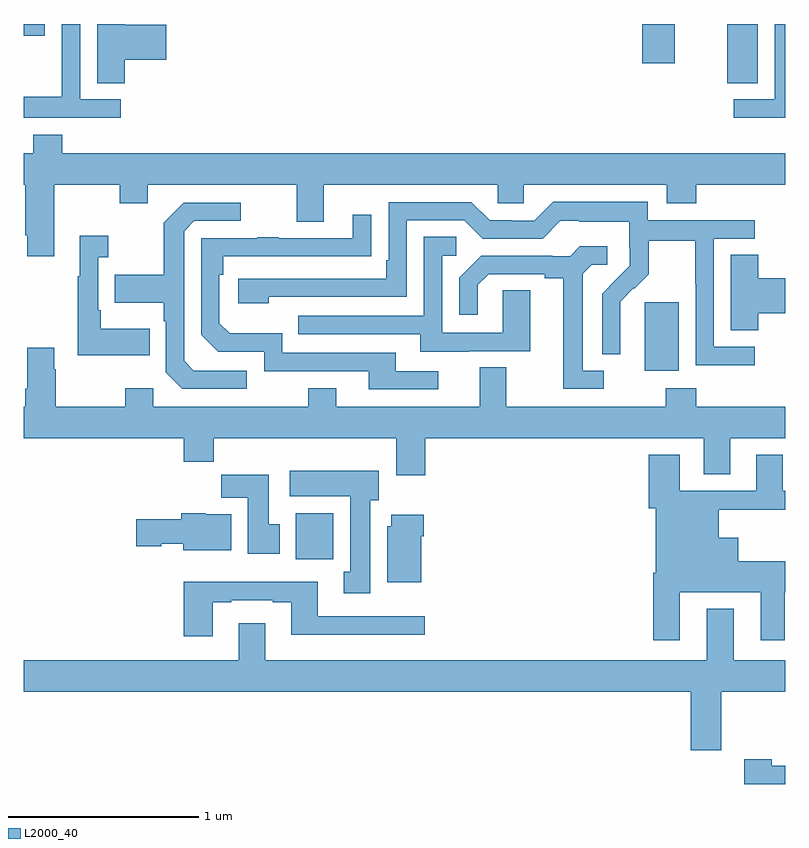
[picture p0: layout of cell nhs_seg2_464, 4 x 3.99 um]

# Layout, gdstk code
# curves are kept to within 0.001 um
import gdstk
lib = gdstk.Library(unit=1e-6, precision=1e-09)
def R(c, l, rs):  # rectangles x0, y0, x1, y1
    for r in rs: c.add(gdstk.rectangle(r[:2], r[2:], *l))
def P(c, l, *ps):  # polygons
    for p in ps: c.add(gdstk.Polygon(p, *l))
L2000_40 = (2000, 40)

nhs_seg2_464 = lib.new_cell('nhs_seg2_464')
R(nhs_seg2_464, L2000_40, [(134.429,658.988,134.626,659.23), (136.262,659.978,136.441,660.339), (136.697,661.489,136.855,661.8), (136.25,661.593,136.42,661.8), (133,661.737,133.111,661.8)])
P(nhs_seg2_464, L2000_40, [(133.529,661.613),(133.747,661.613),(133.747,661.796),(133.529,661.796),(133.529,661.8),(133.385,661.8),(133.385,661.489),(133.529,661.489)],
  [(133.51,661.404),(133.296,661.404),(133.296,661.8),(133.2,661.8),(133.2,661.64),(133.198,661.64),(133.198,661.417),(133,661.417),(133,661.308),(133.51,661.308)],
  [(137,661.8),(136.944,661.8),(136.944,661.404),(136.731,661.404),(136.731,661.308),(137,661.308)],
  [(133.159,660.956),(133.504,660.956),(133.504,660.857),(133.651,660.857),(133.651,660.956),(134.435,660.956),(134.435,660.762),(134.575,660.762),(134.575,660.956),(135.489,660.956),(135.489,660.858),(135.627,660.858),(135.627,660.956),(136.379,660.956),(136.379,660.857),(136.532,660.857),(136.532,660.956),(137,660.956),(137,661.12),(133.202,661.12),(133.202,661.219),(133.049,661.219),(133.049,661.12),(133,661.12),(133,660.956),(133.007,660.956),(133.007,660.691),(133.019,660.691),(133.019,660.579),(133.159,660.579)],
  [(136.84,660.105),(136.626,660.105),(136.626,660.672),(136.84,660.672),(136.84,660.768),(136.278,660.768),(136.278,660.865),(135.781,660.865),(135.681,660.765),(135.566,660.765),(135.566,660.768),(135.447,660.768),(135.351,660.864),(134.916,660.864),(134.916,660.559),(134.903,660.559),(134.903,660.462),(134.127,660.462),(134.127,660.332),(134.288,660.332),(134.288,660.366),(135.012,660.366),(135.012,660.768),(135.315,660.768),(135.411,660.672),(135.726,660.672),(135.819,660.765),(135.919,660.765),(135.919,660.761),(136.182,660.761),(136.182,660.627),(136.184,660.627),(136.184,660.53),(136.038,660.382),(136.038,660.064),(136.134,660.064),(136.133,660.341),(136.203,660.411),(136.206,660.408),(136.283,660.485),(136.283,660.66),(136.528,660.66),(136.528,660.436),(136.53,660.436),(136.53,660.007),(136.84,660.007)],
  [(134.17,659.979),(133.893,659.979),(133.842,660.03),(133.842,660.711),(133.896,660.765),(134.14,660.765),(134.14,660.861),(133.839,660.861),(133.734,660.755),(133.734,660.483),(133.477,660.483),(133.477,660.335),(133.734,660.335),(133.734,660.239),(133.746,660.239),(133.746,659.97),(133.833,659.883),(134.17,659.883)],
  [(135.178,659.976),(134.953,659.976),(134.953,660.072),(134.358,660.072),(134.358,660.175),(134.081,660.175),(134.028,660.228),(134.028,660.482),(134.048,660.482),(134.048,660.579),(134.825,660.58),(134.825,660.799),(134.729,660.799),(134.729,660.675),(134.339,660.675),(134.339,660.68),(134.227,660.68),(134.227,660.675),(133.932,660.675),(133.932,660.168),(134.022,660.078),(134.262,660.078),(134.262,659.976),(134.813,659.976),(134.813,659.88),(135.178,659.88)],
  [(133.661,660.199),(133.405,660.199),(133.405,660.295),(133.392,660.295),(133.392,660.575),(133.444,660.575),(133.444,660.688),(133.295,660.688),(133.295,660.475),(133.284,660.475),(133.284,660.059),(133.661,660.059)],
  [(135.337,660.081),(135.661,660.081),(135.661,660.401),(135.516,660.401),(135.516,660.177),(135.198,660.177),(135.198,660.582),(135.271,660.582),(135.271,660.683),(135.102,660.683),(135.102,660.267),(134.443,660.267),(134.443,660.171),(135.083,660.171),(135.083,660.077),(135.337,660.077)],
  [(136.048,659.979),(135.937,659.979),(135.937,660.487),(135.984,660.534),(136.066,660.534),(136.066,660.631),(135.922,660.631),(135.87,660.579),(135.776,660.579),(135.776,660.582),(135.404,660.582),(135.288,660.466),(135.288,660.273),(135.385,660.273),(135.385,660.429),(135.442,660.486),(135.737,660.486),(135.737,660.464),(135.833,660.464),(135.833,659.883),(136.048,659.883)],
  [(136.859,660.281),(137,660.281),(137,660.464),(136.859,660.464),(136.859,660.587),(136.715,660.587),(136.715,660.19),(136.859,660.19)],
  [(135.11,659.624),(136.571,659.624),(136.571,659.434),(136.711,659.434),(136.711,659.624),(137,659.624),(137,659.788),(136.532,659.788),(136.532,659.887),(136.372,659.887),(136.372,659.788),(135.535,659.788),(135.535,659.996),(135.395,659.996),(135.395,659.788),(134.641,659.788),(134.641,659.887),(134.494,659.887),(134.494,659.788),(133.68,659.788),(133.68,659.887),(133.534,659.887),(133.534,659.788),(133.167,659.788),(133.167,659.987),(133.159,659.987),(133.159,660.1),(133.019,660.1),(133.019,659.884),(133.007,659.884),(133.007,659.788),(133,659.788),(133,659.624),(133.841,659.624),(133.841,659.5),(133.997,659.5),(133.997,659.624),(134.957,659.624),(134.957,659.43),(135.11,659.43)],
  [(136.447,658.814),(136.871,658.814),(136.871,658.563),(136.999,658.563),(136.999,658.814),(137,658.814),(137,658.978),(136.753,658.978),(136.753,659.101),(136.651,659.101),(136.651,659.248),(137,659.248),(137,659.349),(136.987,659.349),(136.987,659.536),(136.847,659.536),(136.847,659.349),(136.447,659.349),(136.447,659.536),(136.283,659.536),(136.283,659.256),(136.319,659.256),(136.319,658.918),(136.307,658.918),(136.307,658.563),(136.447,658.563)],
  [(134.821,659.298),(134.866,659.298),(134.866,659.452),(134.397,659.452),(134.397,659.318),(134.714,659.318),(134.714,658.922),(134.681,658.922),(134.681,658.809),(134.821,658.809)],
  [(134.344,659.172),(134.287,659.172),(134.287,659.431),(134.038,659.431),(134.038,659.312),(134.177,659.312),(134.177,659.016),(134.344,659.016)],
  [(134.089,659.224),(133.956,659.224),(133.956,659.23),(133.826,659.23),(133.826,659.199),(133.59,659.199),(133.59,659.057),(133.722,659.057),(133.722,659.069),(133.838,659.069),(133.838,659.036),(134.089,659.036)],
  [(135.088,659.108),(135.101,659.108),(135.101,659.221),(134.93,659.221),(134.93,659.16),(134.909,659.16),(134.909,658.868),(135.088,658.868)],
  [(133.993,658.761),(134.089,658.761),(134.089,658.773),(134.309,658.773),(134.309,658.761),(134.405,658.761),(134.405,658.592),(135.106,658.592),(135.106,658.689),(134.545,658.689),(134.545,658.87),(133.841,658.87),(133.841,658.584),(133.993,658.584)],
  [(136.665,658.292),(137,658.292),(137,658.456),(136.729,658.456),(136.729,658.729),(136.589,658.729),(136.589,658.456),(134.269,658.456),(134.269,658.651),(134.129,658.651),(134.129,658.456),(133,658.456),(133,658.292),(136.505,658.292),(136.505,657.984),(136.665,657.984)],
  [(137,657.903),(136.929,657.903),(136.929,657.936),(136.785,657.936),(136.785,657.807),(137,657.807)])

lib.write_gds('nhs_seg2_464.gds')
